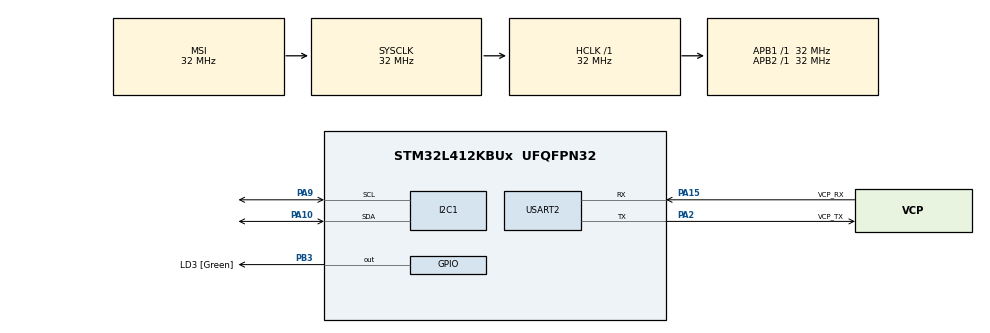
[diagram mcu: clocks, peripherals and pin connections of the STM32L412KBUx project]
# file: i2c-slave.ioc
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I2C1.OwnAddress=2
I2C1.Speed=10
I2C1.Timing=0x6010C7FF
Mcu.Family=STM32L4
Mcu.Name=STM32L412KBUx
Mcu.Package=UFQFPN32
NVIC.I2C1_ER_IRQn=true\:0\:0\:false\:false\:true\:true\:true
NVIC.I2C1_EV_IRQn=true\:0\:0\:false\:false\:true\:true\:true
NVIC.PriorityGroup=NVIC_PRIORITYGROUP_4
PA0-CK_IN.Mode=HSE-External-Clock-Source-for-LittleOrca
PA0-CK_IN.Signal=RCC_CK_IN
PA10.Mode=I2C
PA10.Signal=I2C1_SDA
PA13\ (JTMS/SWDIO).GPIO_Label=SWDIO
PA13\ (JTMS/SWDIO).Mode=Serial_Wire
PA13\ (JTMS/SWDIO).Signal=SYS_JTMS-SWDIO
PA14\ (JTCK/SWCLK).GPIO_Label=SWCLK
PA14\ (JTCK/SWCLK).Mode=Serial_Wire
PA14\ (JTCK/SWCLK).Signal=SYS_JTCK-SWCLK
PA15\ (JTDI).GPIO_Label=VCP_RX
PA15\ (JTDI).Mode=Asynchronous
PA15\ (JTDI).Signal=USART2_RX
PA2.GPIO_Label=VCP_TX
PA2.Mode=Asynchronous
PA2.Signal=USART2_TX
PA9.Mode=I2C
PA9.Signal=I2C1_SCL
PB3\ (JTDO/TRACESWO).GPIO_Label=LD3 [Green]
PB3\ (JTDO/TRACESWO).Signal=GPIO_Output
PC14-OSC32_IN\ (PC14).Mode=LSE-External-Oscillator
PC14-OSC32_IN\ (PC14).Signal=RCC_OSC32_IN
PC15-OSC32_OUT\ (PC15).Mode=LSE-External-Oscillator
PC15-OSC32_OUT\ (PC15).Signal=RCC_OSC32_OUT
ProjectManager.HeapSize=0x200
ProjectManager.StackSize=0x400
ProjectManager.TargetToolchain=STM32CubeIDE
RCC.ADCFreq_Value=32000000
RCC.AHBFreq_Value=32000000
RCC.APB1Freq_Value=32000000
RCC.APB1TimFreq_Value=32000000
RCC.APB2Freq_Value=32000000
RCC.APB2TimFreq_Value=32000000
RCC.CortexFreq_Value=32000000
RCC.FLatency=FLASH_LATENCY_1
RCC.HCLKFreq_Value=32000000
RCC.HSE_VALUE=8000000
RCC.HSI48_VALUE=48000000
RCC.HSICalibrationValue=16
RCC.HSI_VALUE=16000000
RCC.LSE_Drive_Capability=RCC_LSEDRIVE_LOW
RCC.MSIClockRange=RCC_MSIRANGE_10
RCC.MSI_VALUE=32000000
RCC.SYSCLKFreq_VALUE=32000000
RCC.USBFreq_Value=32000000
RCC.VCOOutputFreq_Value=256000000
USART2.VirtualMode-Asynchronous=VM_ASYNC
board=NUCLEO-L412KB

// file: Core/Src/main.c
/* USER CODE BEGIN Header */
/**
  ******************************************************************************
  * @file           : main.c
  * @brief          : Main program body
  ******************************************************************************
  * @attention
  *
  * <h2><center>&copy; Copyright (c) 2021 STMicroelectronics.
  * All rights reserved.</center></h2>
  *
  * This software component is licensed by ST under BSD 3-Clause license,
  * the "License"; You may not use this file except in compliance with the
  * License. You may obtain a copy of the License at:
  *                        opensource.org/licenses/BSD-3-Clause
  *
  ******************************************************************************
  */
/* USER CODE END Header */
#include "main.h"

I2C_HandleTypeDef hi2c1;

UART_HandleTypeDef huart2;

void SystemClock_Config(void);
static void MX_GPIO_Init(void);
static void MX_USART2_UART_Init(void);
static void MX_I2C1_Init(void);

/* USER CODE BEGIN 0 */
uint8_t pData = 0x0;
uint16_t Size = 1;
uint32_t Timeout = 100;
HAL_StatusTypeDef status;
uint8_t counter;

enum i2c_status {
	I2C_STATUS_UNSET,
	I2C_STATUS_SLAVETXCPLT,
	I2C_STATUS_SLAVERXCPLT,
	I2C_STATUS_ERROR,
	I2C_STATUS_ABORTCPLT,
};
enum i2c_status i2c_status = I2C_STATUS_UNSET;

void HAL_I2C_SlaveTxCpltCallback(I2C_HandleTypeDef *hi2c)
{
	i2c_status = I2C_STATUS_SLAVETXCPLT;
}
void HAL_I2C_SlaveRxCpltCallback(I2C_HandleTypeDef *hi2c)
{
	i2c_status = I2C_STATUS_SLAVERXCPLT;
}
void HAL_I2C_ErrorCallback(I2C_HandleTypeDef *hi2c)
{
	i2c_status = I2C_STATUS_ERROR;
}
void HAL_I2C_AbortCpltCallback(I2C_HandleTypeDef *hi2c)
{
	i2c_status = I2C_STATUS_ABORTCPLT;

}

/* USER CODE END 0 */

int main(void)
{

  /* MCU Configuration--------------------------------------------------------*/

  /* Reset of all peripherals, Initializes the Flash interface and the Systick. */
  HAL_Init();

  /* Configure the system clock */
  SystemClock_Config();

  /* Initialize all configured peripherals */
  MX_GPIO_Init();
  MX_USART2_UART_Init();
  MX_I2C1_Init();

  /* Infinite loop */
  /* USER CODE BEGIN WHILE */

  HAL_I2C_Slave_Receive_IT(&hi2c1, &pData, Size);
  while (1)
  {
	  switch(i2c_status) {
	  case I2C_STATUS_SLAVETXCPLT:
		  HAL_I2C_Slave_Receive_IT(&hi2c1, &pData, Size);
		  i2c_status = I2C_STATUS_UNSET;
		  break;
	  case I2C_STATUS_SLAVERXCPLT:
		  counter = pData + 1;
		  HAL_I2C_Slave_Transmit_IT(&hi2c1, &counter, Size);
		  i2c_status = I2C_STATUS_UNSET;
		  break;
	  case I2C_STATUS_UNSET: break;
	  case I2C_STATUS_ERROR:
	  case I2C_STATUS_ABORTCPLT:
		  HAL_I2C_Slave_Receive_IT(&hi2c1, &pData, Size);
		  i2c_status = I2C_STATUS_UNSET;
		  break;
	  }
	  //	  status = HAL_I2C_Slave_Receive(&hi2c1, &pData, Size, Timeout);
//	  if(HAL_OK == status) {
//		  int i = 3;
//	  }
    /* USER CODE END WHILE */

  }
}

void SystemClock_Config(void)
{
  RCC_OscInitTypeDef RCC_OscInitStruct = {0};
  RCC_ClkInitTypeDef RCC_ClkInitStruct = {0};
  RCC_PeriphCLKInitTypeDef PeriphClkInit = {0};

  /** Configure LSE Drive Capability
  */
  HAL_PWR_EnableBkUpAccess();
  __HAL_RCC_LSEDRIVE_CONFIG(RCC_LSEDRIVE_LOW);
  /** Configure the main internal regulator output voltage
  */
  if (HAL_PWREx_ControlVoltageScaling(PWR_REGULATOR_VOLTAGE_SCALE1) != HAL_OK)
  {
    Error_Handler();
  }
  /** Initializes the RCC Oscillators according to the specified parameters
  * in the RCC_OscInitTypeDef structure.
  */
  RCC_OscInitStruct.OscillatorType = RCC_OSCILLATORTYPE_LSE|RCC_OSCILLATORTYPE_MSI;
  RCC_OscInitStruct.LSEState = RCC_LSE_ON;
  RCC_OscInitStruct.MSIState = RCC_MSI_ON;
  RCC_OscInitStruct.MSICalibrationValue = 0;
  RCC_OscInitStruct.MSIClockRange = RCC_MSIRANGE_10;
  RCC_OscInitStruct.PLL.PLLState = RCC_PLL_NONE;
  if (HAL_RCC_OscConfig(&RCC_OscInitStruct) != HAL_OK)
  {
    Error_Handler();
  }
  /** Initializes the CPU, AHB and APB buses clocks
  */
  RCC_ClkInitStruct.ClockType = RCC_CLOCKTYPE_HCLK|RCC_CLOCKTYPE_SYSCLK
                              |RCC_CLOCKTYPE_PCLK1|RCC_CLOCKTYPE_PCLK2;
  RCC_ClkInitStruct.SYSCLKSource = RCC_SYSCLKSOURCE_MSI;
  RCC_ClkInitStruct.AHBCLKDivider = RCC_SYSCLK_DIV1;
  RCC_ClkInitStruct.APB1CLKDivider = RCC_HCLK_DIV1;
  RCC_ClkInitStruct.APB2CLKDivider = RCC_HCLK_DIV1;

  if (HAL_RCC_ClockConfig(&RCC_ClkInitStruct, FLASH_LATENCY_1) != HAL_OK)
  {
    Error_Handler();
  }
  PeriphClkInit.PeriphClockSelection = RCC_PERIPHCLK_USART2|RCC_PERIPHCLK_I2C1;
  PeriphClkInit.Usart2ClockSelection = RCC_USART2CLKSOURCE_PCLK1;
  PeriphClkInit.I2c1ClockSelection = RCC_I2C1CLKSOURCE_PCLK1;
  if (HAL_RCCEx_PeriphCLKConfig(&PeriphClkInit) != HAL_OK)
  {
    Error_Handler();
  }
  /** Enable MSI Auto calibration
  */
  HAL_RCCEx_EnableMSIPLLMode();
}

static void MX_I2C1_Init(void)
{

  hi2c1.Instance = I2C1;
  hi2c1.Init.Timing = 0x6010C7FF;
  hi2c1.Init.OwnAddress1 = 4;
  hi2c1.Init.AddressingMode = I2C_ADDRESSINGMODE_7BIT;
  hi2c1.Init.DualAddressMode = I2C_DUALADDRESS_DISABLE;
  hi2c1.Init.OwnAddress2 = 0;
  hi2c1.Init.OwnAddress2Masks = I2C_OA2_NOMASK;
  hi2c1.Init.GeneralCallMode = I2C_GENERALCALL_DISABLE;
  hi2c1.Init.NoStretchMode = I2C_NOSTRETCH_DISABLE;
  if (HAL_I2C_Init(&hi2c1) != HAL_OK)
  {
    Error_Handler();
  }
  /** Configure Analogue filter
  */
  if (HAL_I2CEx_ConfigAnalogFilter(&hi2c1, I2C_ANALOGFILTER_ENABLE) != HAL_OK)
  {
    Error_Handler();
  }
  /** Configure Digital filter
  */
  if (HAL_I2CEx_ConfigDigitalFilter(&hi2c1, 0) != HAL_OK)
  {
    Error_Handler();
  }

}

static void MX_USART2_UART_Init(void)
{

  huart2.Instance = USART2;
  huart2.Init.BaudRate = 115200;
  huart2.Init.WordLength = UART_WORDLENGTH_8B;
  huart2.Init.StopBits = UART_STOPBITS_1;
  huart2.Init.Parity = UART_PARITY_NONE;
  huart2.Init.Mode = UART_MODE_TX_RX;
  huart2.Init.HwFlowCtl = UART_HWCONTROL_NONE;
  huart2.Init.OverSampling = UART_OVERSAMPLING_16;
  huart2.Init.OneBitSampling = UART_ONE_BIT_SAMPLE_DISABLE;
  huart2.AdvancedInit.AdvFeatureInit = UART_ADVFEATURE_NO_INIT;
  if (HAL_UART_Init(&huart2) != HAL_OK)
  {
    Error_Handler();
  }

}

static void MX_GPIO_Init(void)
{
  GPIO_InitTypeDef GPIO_InitStruct = {0};

  /* GPIO Ports Clock Enable */
  __HAL_RCC_GPIOC_CLK_ENABLE();
  __HAL_RCC_GPIOA_CLK_ENABLE();
  __HAL_RCC_GPIOB_CLK_ENABLE();

  /*Configure GPIO pin Output Level */
  HAL_GPIO_WritePin(LD3_GPIO_Port, LD3_Pin, GPIO_PIN_RESET);

  /*Configure GPIO pin : LD3_Pin */
  GPIO_InitStruct.Pin = LD3_Pin;
  GPIO_InitStruct.Mode = GPIO_MODE_OUTPUT_PP;
  GPIO_InitStruct.Pull = GPIO_NOPULL;
  GPIO_InitStruct.Speed = GPIO_SPEED_FREQ_LOW;
  HAL_GPIO_Init(LD3_GPIO_Port, &GPIO_InitStruct);

}

void Error_Handler(void)
{
  __disable_irq();
  while (1)
  {
  }
}

/************************ (C) COPYRIGHT STMicroelectronics *****END OF FILE****/
